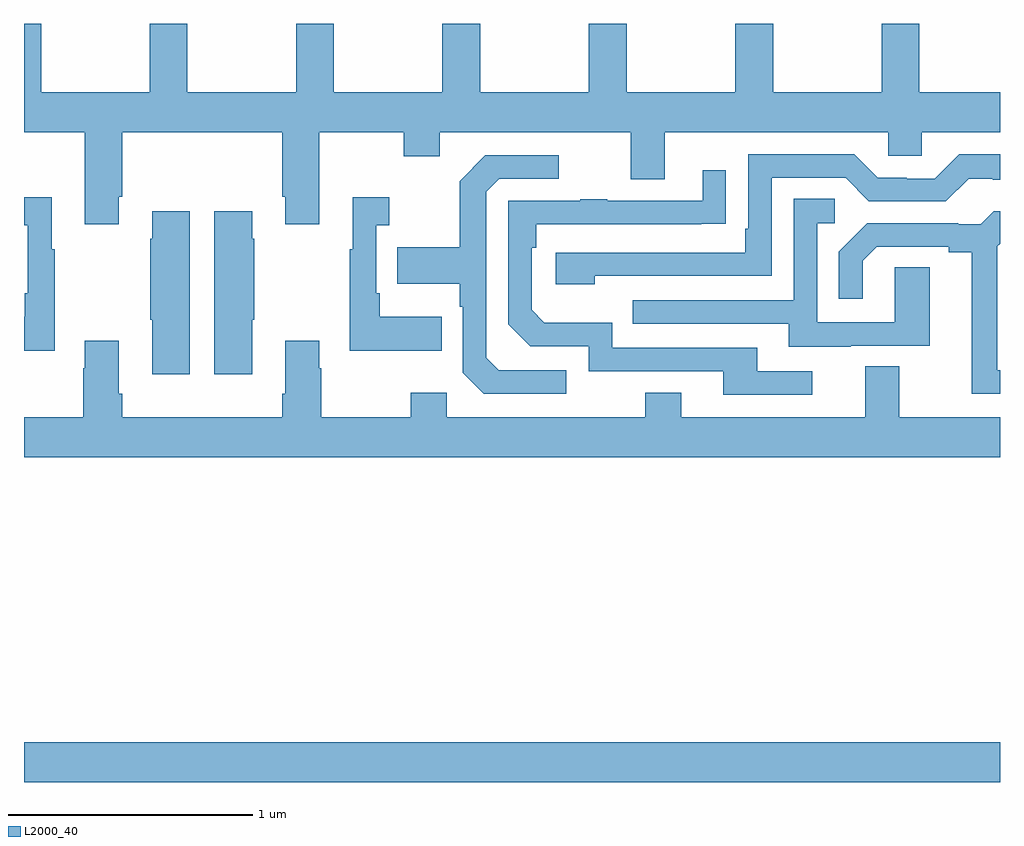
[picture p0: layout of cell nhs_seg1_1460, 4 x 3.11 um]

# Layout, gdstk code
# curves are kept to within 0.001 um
import gdstk
lib = gdstk.Library(unit=1e-6, precision=1e-09)
def R(c, l, rs):  # rectangles x0, y0, x1, y1
    for r in rs: c.add(gdstk.rectangle(r[:2], r[2:], *l))
def P(c, l, *ps):  # polygons
    for p in ps: c.add(gdstk.Polygon(p, *l))
L2000_40 = (2000, 40)

nhs_seg1_1460 = lib.new_cell('nhs_seg1_1460')
R(nhs_seg1_1460, L2000_40, [(191,525.092,195,525.256)])
P(nhs_seg1_1460, L2000_40, [(192.059,527.491),(192.071,527.491),(192.071,527.379),(192.211,527.379),(192.211,527.756),(192.556,527.756),(192.556,527.657),(192.703,527.657),(192.703,527.756),(193.487,527.756),(193.487,527.562),(193.627,527.562),(193.627,527.756),(194.541,527.756),(194.541,527.658),(194.679,527.658),(194.679,527.756),(195,527.756),(195,527.92),(194.67,527.92),(194.67,528.199),(194.515,528.199),(194.515,527.92),(194.07,527.92),(194.07,528.199),(193.915,528.199),(193.915,527.92),(193.47,527.92),(193.47,528.199),(193.315,528.199),(193.315,527.92),(192.87,527.92),(192.87,528.199),(192.715,528.199),(192.715,527.92),(192.27,527.92),(192.27,528.199),(192.115,528.199),(192.115,527.92),(191.67,527.92),(191.67,528.199),(191.515,528.199),(191.515,527.92),(191.07,527.92),(191.07,528.199),(191,528.199),(191,527.756),(191.249,527.756),(191.249,527.379),(191.389,527.379),(191.389,527.491),(191.402,527.491),(191.402,527.756),(192.059,527.756)],
  [(193.34,527.166),(194.064,527.166),(194.064,527.568),(194.367,527.568),(194.463,527.472),(194.778,527.472),(194.871,527.565),(194.971,527.565),(194.971,527.561),(195,527.561),(195,527.665),(194.833,527.665),(194.733,527.565),(194.618,527.565),(194.618,527.568),(194.499,527.568),(194.403,527.664),(193.968,527.664),(193.968,527.359),(193.955,527.359),(193.955,527.262),(193.179,527.262),(193.179,527.132),(193.34,527.132)],
  [(193.222,526.779),(192.945,526.779),(192.894,526.83),(192.894,527.511),(192.948,527.565),(193.192,527.565),(193.192,527.661),(192.891,527.661),(192.786,527.555),(192.786,527.283),(192.529,527.283),(192.529,527.135),(192.786,527.135),(192.786,527.039),(192.798,527.039),(192.798,526.77),(192.885,526.683),(193.222,526.683)],
  [(194.23,526.776),(194.005,526.776),(194.005,526.872),(193.41,526.872),(193.41,526.975),(193.133,526.975),(193.08,527.028),(193.08,527.282),(193.1,527.282),(193.1,527.379),(193.877,527.38),(193.877,527.599),(193.781,527.599),(193.781,527.475),(193.391,527.475),(193.391,527.48),(193.279,527.48),(193.279,527.475),(192.984,527.475),(192.984,526.968),(193.074,526.878),(193.314,526.878),(193.314,526.776),(193.865,526.776),(193.865,526.68),(194.23,526.68)],
  [(192.713,526.999),(192.457,526.999),(192.457,527.095),(192.444,527.095),(192.444,527.375),(192.496,527.375),(192.496,527.488),(192.347,527.488),(192.347,527.275),(192.336,527.275),(192.336,526.859),(192.713,526.859)],
  [(191.125,527.275),(191.113,527.275),(191.113,527.488),(191,527.488),(191,527.375),(191.016,527.375),(191.016,527.095),(191.004,527.095),(191.004,526.999),(191,526.999),(191,526.859),(191.125,526.859)],
  [(194.389,526.881),(194.713,526.881),(194.713,527.201),(194.568,527.201),(194.568,526.977),(194.25,526.977),(194.25,527.382),(194.323,527.382),(194.323,527.483),(194.154,527.483),(194.154,527.067),(193.495,527.067),(193.495,526.971),(194.135,526.971),(194.135,526.877),(194.389,526.877)],
  [(195,526.779),(194.989,526.779),(194.989,527.287),(195,527.298),(195,527.431),(194.974,527.431),(194.922,527.379),(194.828,527.379),(194.828,527.382),(194.456,527.382),(194.34,527.266),(194.34,527.073),(194.437,527.073),(194.437,527.229),(194.494,527.286),(194.789,527.286),(194.789,527.264),(194.885,527.264),(194.885,526.683),(195,526.683)],
  [(191.68,527.431),(191.525,527.431),(191.525,527.318),(191.518,527.318),(191.518,526.987),(191.525,526.987),(191.525,526.764),(191.68,526.764)],
  [(191.935,526.987),(191.943,526.987),(191.943,527.318),(191.935,527.318),(191.935,527.431),(191.78,527.431),(191.78,526.764),(191.935,526.764)],
  [(195,526.588),(194.587,526.588),(194.587,526.796),(194.447,526.796),(194.447,526.588),(193.693,526.588),(193.693,526.687),(193.546,526.687),(193.546,526.588),(192.732,526.588),(192.732,526.687),(192.586,526.687),(192.586,526.588),(192.219,526.588),(192.219,526.787),(192.211,526.787),(192.211,526.9),(192.071,526.9),(192.071,526.684),(192.059,526.684),(192.059,526.588),(191.402,526.588),(191.402,526.684),(191.389,526.684),(191.389,526.9),(191.249,526.9),(191.249,526.787),(191.242,526.787),(191.242,526.588),(191,526.588),(191,526.424),(195,526.424)])

lib.write_gds('nhs_seg1_1460.gds')
